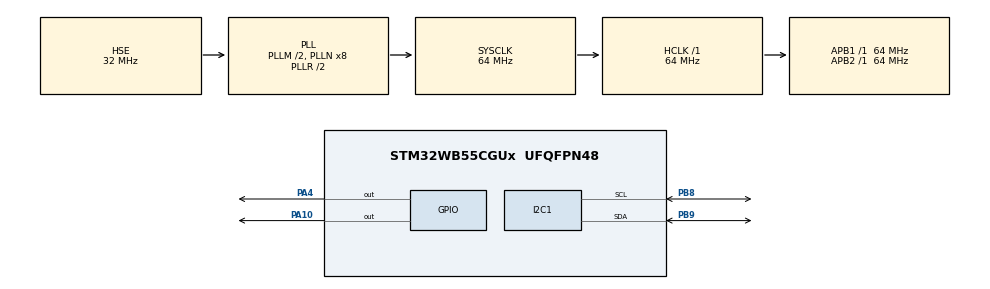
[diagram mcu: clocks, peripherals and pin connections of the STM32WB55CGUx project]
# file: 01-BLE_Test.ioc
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I2C1.Timing=0x10B17DB5
IWDG.Prescaler=IWDG_PRESCALER_32
IWDG.Reload=125
Mcu.Family=STM32WB
Mcu.Name=STM32WB55CGUx
Mcu.Package=UFQFPN48
NVIC.HSEM_IRQn=true\:2\:0\:true\:false\:true\:false\:true\:true
NVIC.IPCC_C1_RX_IRQn=true\:2\:0\:true\:false\:true\:true\:true\:true
NVIC.IPCC_C1_TX_IRQn=true\:2\:0\:true\:false\:true\:true\:true\:true
NVIC.PriorityGroup=NVIC_PRIORITYGROUP_4
NVIC.RTC_WKUP_IRQn=true\:2\:0\:true\:false\:true\:true\:true\:true
OSC_IN.Mode=HSE-External-Oscillator
OSC_IN.Signal=RCC_OSC_IN
OSC_OUT.Mode=HSE-External-Oscillator
OSC_OUT.Signal=RCC_OSC_OUT
PA10.Signal=GPIO_Output
PA4.Signal=GPIO_Output
PB8.Mode=I2C
PB8.Signal=I2C1_SCL
PB9.Mode=I2C
PB9.Signal=I2C1_SDA
PC14-OSC32_IN.Mode=LSE-External-Oscillator
PC14-OSC32_IN.Signal=RCC_OSC32_IN
PC15-OSC32_OUT.Mode=LSE-External-Oscillator
PC15-OSC32_OUT.Signal=RCC_OSC32_OUT
ProjectManager.HeapSize=0x400
ProjectManager.StackSize=0x1000
ProjectManager.TargetToolchain=Makefile
RCC.ADCFreq_Value=64000000
RCC.AHB2CLKDivider=RCC_SYSCLK_DIV2
RCC.AHBFreq_Value=64000000
RCC.APB1Freq_Value=64000000
RCC.APB1TimFreq_Value=64000000
RCC.APB2Freq_Value=64000000
RCC.APB2TimFreq_Value=64000000
RCC.APB3Freq_Value=16000000
RCC.CK48CLockSelection=RCC_USBCLKSOURCE_HSI48
RCC.CortexFreq_Value=64000000
RCC.HCLKFreq_Value=64000000
RCC.HSE_VALUE=32000000
RCC.HSI48_VALUE=48000000
RCC.HSI_VALUE=16000000
RCC.PLLM=RCC_PLLM_DIV2
RCC.PLLSourceVirtual=RCC_PLLSOURCE_HSE
RCC.RFWKPClockSelection=RCC_RFWKPCLKSOURCE_LSE
RCC.RTCClockSelection=RCC_RTCCLKSOURCE_LSE
RCC.SMPSCLockSelection=RCC_SMPSCLKSOURCE_HSE
RCC.SMPSDivider=4
RCC.SYSCLKFreq_VALUE=64000000
RCC.SYSCLKSource=RCC_SYSCLKSOURCE_PLLCLK
RCC.USBFreq_Value=48000000
RCC.VCOOutputFreq_Value=128000000
RF1.Mode=RF1_Activate
RF1.Signal=RF_RF1
RTC.Month=RTC_MONTH_MARCH
RTC.WeekDay=RTC_WEEKDAY_FRIDAY
RTC.Year=24
VP_HSEM_VS_HSEM.Mode=HSEM_Activate
VP_IPCC_VS_IPCC.Mode=IPCC_Activate
VP_IWDG_VS_IWDG.Mode=IWDG_Activate
VP_MEMORYMAP_VS_MEMORYMAP.Mode=CurAppReg
VP_RTC_VS_RTC_Activate.Mode=RTC_Enabled
VP_RTC_VS_RTC_Calendar.Mode=RTC_Calendar
VP_RTC_VS_RTC_WakeUp_intern.Mode=WakeUp
VP_SEQUENCER_VS_SEQUENCER.Mode=SEQUENCER_Enabled
VP_STM32_WPAN_VS_BLE_HOST.Mode=STM32_WPAN_Enabled
VP_TINY_LPM_VS_TINY_LPM.Mode=TINY_LPM_Enabled
board=custom

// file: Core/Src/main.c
/* USER CODE BEGIN Header */
/**
  ******************************************************************************
  * @file           : main.c
  * @brief          : Main program body
  ******************************************************************************
  */
/* USER CODE END Header */
#include "main.h"
#include "i2c.h"
#include "ipcc.h"
#include "iwdg.h"
#include "rf.h"
#include "rtc.h"
#include "gpio.h"

/* USER CODE BEGIN Includes */
#include "ble.h"
#include "sht41.h"
#include "app_ble.h"
/* USER CODE END Includes */

/* USER CODE BEGIN PD */
#define SENSOR_PERIOD_MS 10000U
#define LED_BOOT_BLINK_MS 100U
#define SENSOR_PWR_GPIO_Port GPIOA
#define SENSOR_PWR_Pin GPIO_PIN_4
#define SENSOR_I2C_SCL_PORT GPIOB
#define SENSOR_I2C_SCL_PIN GPIO_PIN_8
#define SENSOR_I2C_SDA_PORT GPIOB
#define SENSOR_I2C_SDA_PIN GPIO_PIN_9
/* USER CODE END PD */

/* USER CODE BEGIN PV */
uint16_t adc_inp;
volatile uint8_t force_measure_now = 0;
volatile uint8_t device_sleep_mode = 0;
static SHT41_Data_t sensor_data;
static uint8_t sensor_data_valid = 0;
static volatile uint32_t led_off_tick = 0;
static volatile uint8_t led_state = 0;
/* USER CODE END PV */

void SystemClock_Config(void);
void PeriphCommonClock_Config(void);

/* USER CODE BEGIN 0 */
static inline void SENSOR_PWR_ON(void)
{
  HAL_GPIO_WritePin(SENSOR_PWR_GPIO_Port, SENSOR_PWR_Pin, GPIO_PIN_RESET);
}

static inline void SENSOR_PWR_OFF(void)
{
  HAL_GPIO_WritePin(SENSOR_PWR_GPIO_Port, SENSOR_PWR_Pin, GPIO_PIN_SET);
}

static void I2C_Lines_To_AF(void)
{
  GPIO_InitTypeDef GPIO_InitStruct = {0};
  GPIO_InitStruct.Mode = GPIO_MODE_AF_OD;
  GPIO_InitStruct.Pull = GPIO_PULLUP;
  GPIO_InitStruct.Speed = GPIO_SPEED_FREQ_LOW;
  GPIO_InitStruct.Alternate = GPIO_AF4_I2C1;
  GPIO_InitStruct.Pin = SENSOR_I2C_SDA_PIN;
  HAL_GPIO_Init(SENSOR_I2C_SDA_PORT, &GPIO_InitStruct);
  GPIO_InitStruct.Pin = SENSOR_I2C_SCL_PIN;
  HAL_GPIO_Init(SENSOR_I2C_SCL_PORT, &GPIO_InitStruct);
}

static void Sensor_PowerOn(void)
{
  I2C_Lines_To_AF();
  SENSOR_PWR_ON();
  HAL_Delay(2);
  HAL_I2C_DeInit(&hi2c1);
  MX_I2C1_Init();
  HAL_Delay(1);
}

static void LED_Process(void)
{
  uint32_t now = HAL_GetTick();
  if (led_state && (int32_t)(now - led_off_tick) >= 0)
  {
    HAL_GPIO_WritePin(GPIOA, GPIO_PIN_10, GPIO_PIN_RESET);
    led_state = 0;
  }
}

static void Sensor_Process(void)
{
  if (SHT41_Read(&hi2c1, &sensor_data) == HAL_OK)
  {
    sensor_data_valid = 1;
  }
  else
  {
    sensor_data_valid = 0;
  }
}
/* USER CODE END 0 */

int main(void)
{
  uint32_t last_sensor_tick = 0;

  HAL_Init();
  MX_APPE_Config();
  SystemClock_Config();
  PeriphCommonClock_Config();
  MX_IPCC_Init();

  MX_GPIO_Init();
  MX_RTC_Init();
  MX_I2C1_Init();
  MX_IWDG_Init();
  MX_RF_Init();

  LL_HSEM_1StepLock(HSEM, 5);
  LL_HSEM_ReleaseLock(HSEM, 5, 0);

  __HAL_RCC_GPIOA_CLK_ENABLE();
  {
    GPIO_InitTypeDef GPIO_InitStruct = {0};
    GPIO_InitStruct.Pin = SENSOR_PWR_Pin;
    GPIO_InitStruct.Mode = GPIO_MODE_OUTPUT_PP;
    GPIO_InitStruct.Pull = GPIO_NOPULL;
    GPIO_InitStruct.Speed = GPIO_SPEED_FREQ_LOW;
    HAL_GPIO_Init(SENSOR_PWR_GPIO_Port, &GPIO_InitStruct);
  }
  SENSOR_PWR_OFF();
  Sensor_PowerOn();
  (void)SHT41_Init(&hi2c1);

  for (uint8_t i = 0; i < 5; i++)
  {
    HAL_GPIO_WritePin(GPIOA, GPIO_PIN_10, GPIO_PIN_SET);
    HAL_Delay(LED_BOOT_BLINK_MS);
    HAL_GPIO_WritePin(GPIOA, GPIO_PIN_10, GPIO_PIN_RESET);
    HAL_Delay(LED_BOOT_BLINK_MS);
  }

  /* BLE application initialization must happen exactly once. */
  MX_APPE_Init();

  while (1)
  {
    MX_APPE_Process();
    LED_Process();

    uint32_t now = HAL_GetTick();
    if ((int32_t)(now - last_sensor_tick) >= (int32_t)SENSOR_PERIOD_MS)
    {
      last_sensor_tick = now;
      Sensor_Process();
    }
  }
}

void SystemClock_Config(void)
{
  RCC_OscInitTypeDef RCC_OscInitStruct = {0};
  RCC_ClkInitTypeDef RCC_ClkInitStruct = {0};

  HAL_PWR_EnableBkUpAccess();
  __HAL_RCC_LSEDRIVE_CONFIG(RCC_LSEDRIVE_MEDIUMHIGH);
  __HAL_PWR_VOLTAGESCALING_CONFIG(PWR_REGULATOR_VOLTAGE_SCALE1);

  /* These settings match the working main branch and are required by BLE. */
  RCC_OscInitStruct.OscillatorType = RCC_OSCILLATORTYPE_HSI48|RCC_OSCILLATORTYPE_HSI|RCC_OSCILLATORTYPE_HSE|RCC_OSCILLATORTYPE_LSE;
  RCC_OscInitStruct.HSEState = RCC_HSE_ON;
  RCC_OscInitStruct.LSEState = RCC_LSE_ON;
  RCC_OscInitStruct.HSIState = RCC_HSI_ON;
  RCC_OscInitStruct.HSI48State = RCC_HSI48_ON;
  RCC_OscInitStruct.HSICalibrationValue = RCC_HSICALIBRATION_DEFAULT;
  RCC_OscInitStruct.PLL.PLLState = RCC_PLL_ON;
  RCC_OscInitStruct.PLL.PLLSource = RCC_PLLSOURCE_HSE;
  RCC_OscInitStruct.PLL.PLLM = RCC_PLLM_DIV2;
  RCC_OscInitStruct.PLL.PLLN = 8;
  RCC_OscInitStruct.PLL.PLLP = RCC_PLLP_DIV2;
  RCC_OscInitStruct.PLL.PLLR = RCC_PLLR_DIV2;
  RCC_OscInitStruct.PLL.PLLQ = RCC_PLLQ_DIV2;
  if (HAL_RCC_OscConfig(&RCC_OscInitStruct) != HAL_OK) Error_Handler();

  RCC_ClkInitStruct.ClockType = RCC_CLOCKTYPE_HCLK4|RCC_CLOCKTYPE_HCLK2|RCC_CLOCKTYPE_HCLK|RCC_CLOCKTYPE_SYSCLK|RCC_CLOCKTYPE_PCLK1|RCC_CLOCKTYPE_PCLK2;
  RCC_ClkInitStruct.SYSCLKSource = RCC_SYSCLKSOURCE_PLLCLK;
  RCC_ClkInitStruct.AHBCLKDivider = RCC_SYSCLK_DIV1;
  RCC_ClkInitStruct.APB1CLKDivider = RCC_HCLK_DIV1;
  RCC_ClkInitStruct.APB2CLKDivider = RCC_HCLK_DIV1;
  RCC_ClkInitStruct.AHBCLK2Divider = RCC_SYSCLK_DIV2;
  RCC_ClkInitStruct.AHBCLK4Divider = RCC_SYSCLK_DIV1;
  if (HAL_RCC_ClockConfig(&RCC_ClkInitStruct, FLASH_LATENCY_3) != HAL_OK) Error_Handler();
}

void PeriphCommonClock_Config(void)
{
  RCC_PeriphCLKInitTypeDef PeriphClkInitStruct = {0};
  PeriphClkInitStruct.PeriphClockSelection = RCC_PERIPHCLK_SMPS|RCC_PERIPHCLK_RFWAKEUP;
  PeriphClkInitStruct.RFWakeUpClockSelection = RCC_RFWKPCLKSOURCE_HSE_DIV1024;
  PeriphClkInitStruct.SmpsClockSelection = RCC_SMPSCLKSOURCE_HSE;
  PeriphClkInitStruct.SmpsDivSelection = RCC_SMPSCLKDIV_RANGE1;
  if (HAL_RCCEx_PeriphCLKConfig(&PeriphClkInitStruct) != HAL_OK) Error_Handler();
}

void Dbg_Print(const char *fmt, ...)
{
  (void)fmt;
}

void Error_Handler(void)
{
  __disable_irq();
  while (1) {}
}
